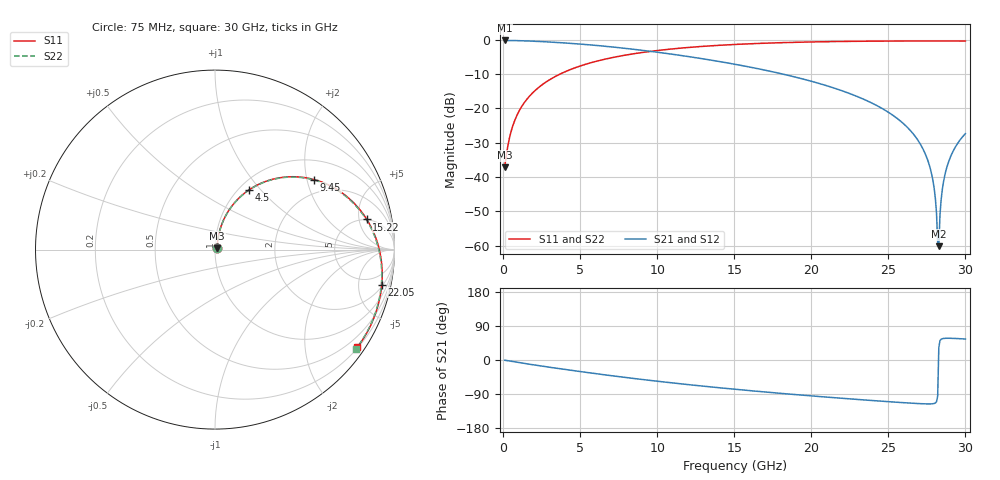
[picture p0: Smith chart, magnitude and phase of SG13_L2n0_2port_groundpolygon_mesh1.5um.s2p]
#  Hz  S  RI  R  50
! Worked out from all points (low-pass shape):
!   400 points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, 75 MHz to 30 GHz, reference 50 ohm
!   highest |S21| = -0.16 dB at 75 MHz (marker M1); lowest = -60.2 dB at 28.27 GHz (marker M2)
!   |S21| within 3 dB of the highest: start of sweep to 9.237 GHz
!   lowest |S11| = -37.2 dB at 75 MHz (marker M3), VSWR 1.03, Z = 51.2 + j0.68 ohm
!   |S11| at or under -10 dB: start of sweep to 3.662 GHz
!   |S22| runs from -37.1 to -0.3 dB; largest |S21 - S12| = 1.4e-06
!   S11 on the Smith chart (normalised r, x): 75 MHz: 1.02, +0.01; 4.5 GHz: 1.11, +0.86; 9.45 GHz: 1.54, +2.21; 15.22 GHz: 4.92, +6.46; 22.05 GHz: 2.29, -9.08; 30 GHz: 0.22, -3.21
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7.5e7  0.0122 0.00664  0.9813 -0.00864  0.9813 -0.00864  0.0122 0.00663
5.25e8  0.0148 0.0463  0.9776 -0.0602  0.9776 -0.0602  0.0149 0.0463
1.275e9  0.0279 0.1111  0.9598 -0.1428  0.9598 -0.1428  0.028 0.111
4.5e9  0.1875 0.3315  0.7837 -0.4125  0.7837 -0.4125  0.1879 0.3308
5.1e9  0.2299 0.3569  0.7406 -0.4472  0.7406 -0.4472  0.2303 0.3561
9.45e9  0.5513 0.3905  0.4076 -0.5509  0.4076 -0.5509  0.552 0.3882
1.005e10  0.5917 0.3778  0.3655 -0.5479  0.3655 -0.5479  0.5924 0.3753
1.5075e10  0.8408 0.1759  0.0961 -0.4287  0.0961 -0.4287  0.8408 0.1711
1.5225e10  0.8457 0.1683  0.0906 -0.4235  0.0906 -0.4235  0.8456 0.1634
2.0025e10  0.9295 -0.0884  -0.0208 -0.2474  -0.0208 -0.2474  0.9276 -0.0953
2.205e10  0.9294 -0.1947  -0.0349 -0.1758  -0.0349 -0.1758  0.9264 -0.2023
2.505e10  0.8994 -0.3409  -0.0298 -0.0812  -0.0298 -0.0812  0.8947 -0.3493
2.655e10  0.8738 -0.4081  -0.0181 -0.0404  -0.0181 -0.0404  0.8682 -0.4167
2.7525e10  0.8538 -0.4493  -0.00802 -0.0165  -0.00802 -0.0165  0.8475 -0.4581
2.7975e10  0.8438 -0.4676  -0.00282 -0.00614  -0.00282 -0.00614  0.8371 -0.4764
2.8125e10  0.8403 -0.4736  -0.00102 -0.00278  -0.00102 -0.00278  0.8335 -0.4824
2.82e10  0.8386 -0.4766  -0.000105 -0.00111  -0.000105 -0.00111  0.8317 -0.4854
2.8275e10  0.8368 -0.4795  0.000819 0.000538  0.000819 0.000539  0.8299 -0.4884
2.835e10  0.835 -0.4825  0.00175 0.00218  0.00175 0.00218  0.8281 -0.4913
2.8425e10  0.8333 -0.4854  0.00269 0.00381  0.00269 0.00381  0.8263 -0.4943
2.8725e10  0.8261 -0.497  0.00655 0.0102  0.00655 0.0102  0.8189 -0.5059
3e10  0.7938 -0.5442  0.0244 0.0353  0.0244 0.0353  0.7856 -0.5532
